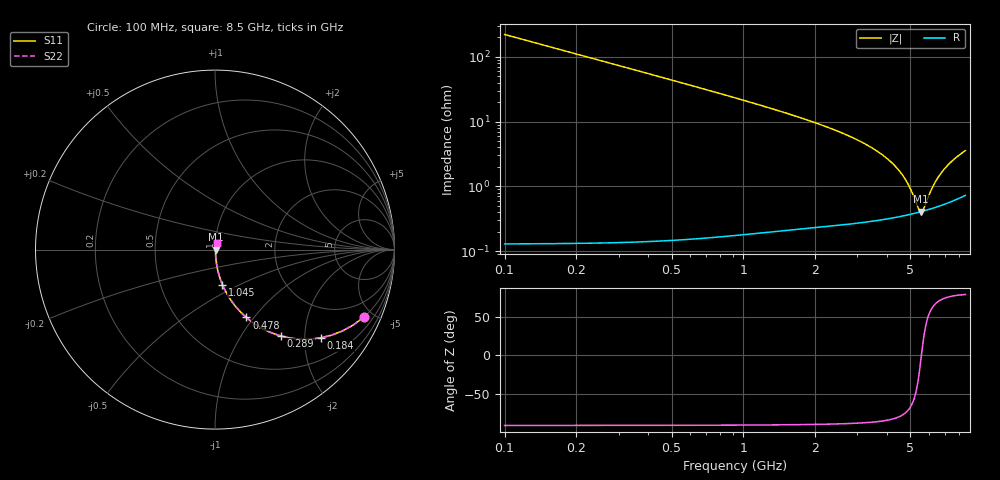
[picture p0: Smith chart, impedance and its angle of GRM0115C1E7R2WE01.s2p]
!Murata Part Number: GRM0115C1E7R2WE01
!These Parameters are Measured in Series Mode Connection
!Data Generated on Mar 30, 2021
!  o--ll--o
!Port1  Port2
!  o------o
!Operation Temp=25[degC], DC Bias Voltage=0[V]
!Freq. Start=100[MHz] Stop=9[GHz] 401[Steps]
# Hz S RI R 50
!Freq.(Hz) S11(Real) S11(Imag) S21(Real) S21(Imag) S12(Real) S12(Imag) S22(Real) S22(Imag)
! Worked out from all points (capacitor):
!   401 points, 100 MHz to 8.5 GHz, reference 50 ohm
!   read as one part in series: C = 7.2 pF near 142 MHz
!   lowest |Z| = 408 mohm at 5.539 GHz (marker M1)
!   series resonance near 5.561 GHz, so ESL is about 110 pH
!   S11 on the Smith chart (normalised r, x): 100 MHz: 1.00, -4.42; 184 MHz: 1.00, -2.40; 289 MHz: 1.00, -1.53; 478 MHz: 1.00, -0.92; 1.045 GHz: 1.00, -0.41; 8.5 GHz: 1.01, +0.07
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1e8  0.8299 -0.3755  0.1701 0.3755  0.1701 0.3755  0.8299 -0.3755
1.84e8  0.59 -0.4913  0.41 0.4913  0.41 0.4913  0.59 -0.4913
2.89e8  0.3679 -0.4814  0.6321 0.4814  0.6321 0.4814  0.3679 -0.4814
3.73e8  0.2585 -0.4366  0.7415 0.4366  0.7415 0.4366  0.2585 -0.4366
4.78e8  0.1746 -0.378  0.8254 0.378  0.8254 0.378  0.1746 -0.378
7.09e8  0.087 -0.2792  0.913 0.2792  0.913 0.2792  0.087 -0.2792
1.045e9  0.0414 -0.1948  0.9586 0.1948  0.9586 0.1948  0.0414 -0.1948
1.507e9  0.02 -0.1325  0.98 0.1325  0.98 0.1325  0.02 -0.1325
2.914e9  0.00564 -0.0544  0.9944 0.0544  0.9944 0.0544  0.00564 -0.0544
3.733e9  0.00405 -0.0322  0.9959 0.0322  0.9959 0.0322  0.00405 -0.0322
4.3e9  0.00371 -0.0205  0.9963 0.0205  0.9963 0.0205  0.00371 -0.0205
4.825e9  0.00371 -0.0112  0.9963 0.0112  0.9963 0.0112  0.00371 -0.0112
5.056e9  0.00378 -0.00752  0.9962 0.00752  0.9962 0.00752  0.00378 -0.00752
5.392e9  0.00395 -0.00243  0.996 0.00243  0.996 0.00243  0.00395 -0.00243
5.539e9  0.00405 -0.000311  0.9959 0.000311  0.9959 0.000311  0.00405 -0.000311
5.707e9  0.00418 0.00205  0.9958 -0.00205  0.9958 -0.00205  0.00418 0.00205
6.043e9  0.00448 0.00657  0.9955 -0.00657  0.9955 -0.00657  0.00448 0.00657
6.337e9  0.00479 0.0103  0.9952 -0.0103  0.9952 -0.0103  0.00479 0.0103
6.694e9  0.00523 0.0147  0.9948 -0.0147  0.9948 -0.0147  0.00523 0.0147
7.114e9  0.00583 0.0196  0.9942 -0.0196  0.9942 -0.0196  0.00583 0.0196
7.744e9  0.00688 0.0266  0.9931 -0.0266  0.9931 -0.0266  0.00688 0.0266
8.5e9  0.0084 0.0343  0.9916 -0.0343  0.9916 -0.0343  0.0084 0.0343
